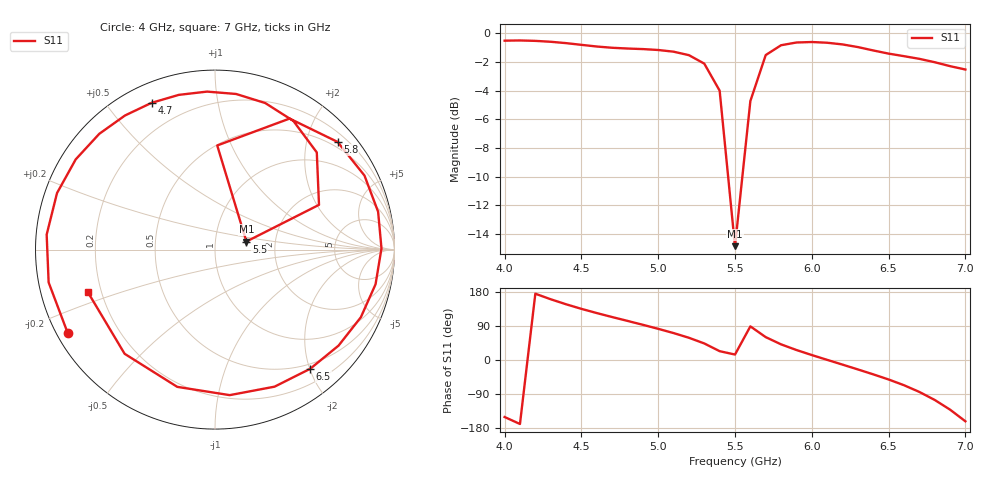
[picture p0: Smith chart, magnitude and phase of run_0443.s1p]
! Touchstone file exported from HFSS 2024.2.0
!  File:  C:/Users/wsak9/Desktop/Sim Fast/Widenad Patch/WP_AI_V1_sweep.aedt
!  Generated:  10:14:40 AM Oct 14, 2026
!  Design:  A1_model
!  Project:  WP_AI_V1_sweep
!  Setup:  Setup1
!  Solution:  Sweep
! Variables:
!  Air_gap = 3.11mm
!  Curve_Amp1 = 1.67
!  Curve_len1 = 1
!  Curve_pos = 10.955mm
!  Extra = 4.59mm
!  H_sub = 0.79mm
!  L_Patch = 17.91mm
!  L_Patch1 = 20.22mm
!  Sx = 2.78mm
!  Sy = 4.59mm
!  WS = 0.32mm
!  W_Patch = 11.22mm
!  W_Patch1 = 15.63mm
!Data is not renormalized
# GHz S MA
! Terminal data exported
! Port[1] = 1
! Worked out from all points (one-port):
!   31 points, 4 GHz to 7 GHz, reference per port
!   lowest |S11| = -14.9 dB at 5.5 GHz (marker M1), VSWR 1.44
!   |S11| at or under -10 dB: 5.455 GHz to 5.548 GHz (92.75 MHz wide, 1.69 % of centre)
!   S11 on the Smith chart (normalised r, x): 4 GHz: 0.03, -0.26; 4.7 GHz: 0.08, +0.65; 5.5 GHz: 1.42, +0.13; 5.8 GHz: 0.38, +2.61; 6.5 GHz: 0.42, -2.01; 7 GHz: 0.15, -0.16
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4  0.9431 -150.5
4.1  0.9447 -168.8
4.2  0.9416 174.9
4.3  0.9348 160.3
4.4  0.9246 147.1
4.5  0.912 135.0
4.7  0.8908 113.4
4.8  0.8854 103.2
5  0.875 82.3
5.1  0.8632 71.1
5.2  0.8393 58.6
5.3  0.7841 43.7
5.4  0.6309 23.3
5.5  0.1807 14.4
5.6  0.5803 88.8
5.7  0.8401 60.3
5.8  0.9091 41.3
5.9  0.9294 26.4
6  0.9329 13.1
6.1  0.9276 0.4
6.2  0.9151 -12.2
6.3  0.8957 -24.9
6.5  0.8498 -51.4
6.6  0.8326 -66.5
6.7  0.815 -84.2
6.8  0.7931 -105.4
6.9  0.7684 -131.0
7  0.7478 -161.8
